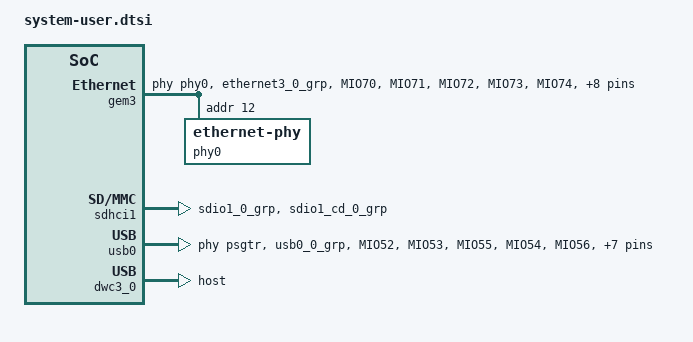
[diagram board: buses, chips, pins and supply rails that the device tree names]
/include/ "system-conf.dtsi"

#include "include/dt-bindings/gpio/gpio.h"
#include "include/dt-bindings/pinctrl/pinctrl-zynqmp.h"
#include "include/dt-bindings/phy/phy.h"


/ {
};

&gem3 {
	phy-handle = <&phy0>;
	pinctrl-names = "default";
	pinctrl-0 = <&pinctrl_gem3_default>;
	phy0: ethernet-phy@c {
		reg = <0xc>;
		ti,rx-internal-delay = <0x8>;
		ti,tx-internal-delay = <0xa>;
		ti,fifo-depth = <0x1>;
		ti,dp83867-rxctrl-strap-quirk;
	};
};

&pinctrl0 {
	status = "okay";

	pinctrl_can1_default: can1-default {
		mux {
			function = "can1";
			groups = "can1_6_grp";
		};

		conf {
			groups = "can1_6_grp";
			slew-rate = <SLEW_RATE_SLOW>;
			power-source = <IO_STANDARD_LVCMOS18>;
			drive-strength = <12>;
		};

		conf-rx {
			pins = "MIO25";
			bias-high-impedance;
		};

		conf-tx {
			pins = "MIO24";
			bias-disable;
		};
	};

	pinctrl_i2c1_default: i2c1-default {
		mux {
			groups = "i2c1_4_grp";
			function = "i2c1";
		};

		conf {
			groups = "i2c1_4_grp";
			bias-pull-up;
			slew-rate = <SLEW_RATE_SLOW>;
			power-source = <IO_STANDARD_LVCMOS18>;
			drive-strength = <12>;
		};
	};

	pinctrl_i2c1_gpio: i2c1-gpio {
		mux {
			groups = "gpio0_16_grp", "gpio0_17_grp";
			function = "gpio0";
		};

		conf {
			groups = "gpio0_16_grp", "gpio0_17_grp";
			slew-rate = <SLEW_RATE_SLOW>;
			power-source = <IO_STANDARD_LVCMOS18>;
			drive-strength = <12>;
		};
	};

	pinctrl_gem3_default: gem3-default {
		mux {
			function = "ethernet3";
			groups = "ethernet3_0_grp";
		};

		conf {
			groups = "ethernet3_0_grp";
			slew-rate = <SLEW_RATE_SLOW>;
			power-source = <IO_STANDARD_LVCMOS18>;
			drive-strength = <12>;
		};

		conf-rx {
			pins = "MIO70", "MIO71", "MIO72", "MIO73", "MIO74",
									"MIO75";
			bias-high-impedance;
			low-power-disable;
		};

		conf-tx {
			pins = "MIO64", "MIO65", "MIO66", "MIO67", "MIO68",
									"MIO69";
			bias-disable;
			low-power-enable;
		};

		mux-mdio {
			function = "mdio3";
			groups = "mdio3_0_grp";
		};

		conf-mdio {
			groups = "mdio3_0_grp";
			slew-rate = <SLEW_RATE_SLOW>;
			power-source = <IO_STANDARD_LVCMOS18>;
			bias-disable;
		};
	};

	pinctrl_sdhci1_default: sdhci1-default {
		mux {
			groups = "sdio1_0_grp";
			function = "sdio1";
		};

		conf {
			groups = "sdio1_0_grp";
			slew-rate = <SLEW_RATE_SLOW>;
			power-source = <IO_STANDARD_LVCMOS18>;
			bias-disable;
			drive-strength = <12>;
		};

		mux-cd {
			groups = "sdio1_cd_0_grp";
			function = "sdio1_cd";
		};

		conf-cd {
			groups = "sdio1_cd_0_grp";
			bias-high-impedance;
			bias-pull-up;
			slew-rate = <SLEW_RATE_SLOW>;
			power-source = <IO_STANDARD_LVCMOS18>;
		};
	};

	pinctrl_uart0_default: uart0-default {
		mux {
			groups = "uart0_4_grp";
			function = "uart0";
		};

		conf {
			groups = "uart0_4_grp";
			slew-rate = <SLEW_RATE_SLOW>;
			power-source = <IO_STANDARD_LVCMOS18>;
			drive-strength = <12>;
		};

		conf-rx {
			pins = "MIO18";
			bias-high-impedance;
		};

		conf-tx {
			pins = "MIO19";
			bias-disable;
		};
	};

	pinctrl_uart1_default: uart1-default {
		mux {
			groups = "uart1_5_grp";
			function = "uart1";
		};

		conf {
			groups = "uart1_5_grp";
			slew-rate = <SLEW_RATE_SLOW>;
			power-source = <IO_STANDARD_LVCMOS18>;
			drive-strength = <12>;
		};

		conf-rx {
			pins = "MIO21";
			bias-high-impedance;
		};

		conf-tx {
			pins = "MIO20";
			bias-disable;
		};
	};

	pinctrl_usb0_default: usb0-default {
		mux {
			groups = "usb0_0_grp";
			function = "usb0";
		};

		conf {
			groups = "usb0_0_grp";
			slew-rate = <SLEW_RATE_SLOW>;
			power-source = <IO_STANDARD_LVCMOS18>;
			drive-strength = <12>;
		};

		conf-rx {
			pins = "MIO52", "MIO53", "MIO55";
			bias-high-impedance;
		};

		conf-tx {
			pins = "MIO54", "MIO56", "MIO57", "MIO58", "MIO59",
			       "MIO60", "MIO61", "MIO62", "MIO63";
			bias-disable;
		};
	};
};

/* SD1 with level shifter */
&sdhci1 {
	no-1-8-v;
	pinctrl-names = "default";
	pinctrl-0 = <&pinctrl_sdhci1_default>;
	xlnx,mio-bank = <1>;
	disable-wp;
};

/* ULPI SMSC USB3320 */
&usb0 {
	pinctrl-names = "default";
	pinctrl-0 = <&pinctrl_usb0_default>;
	phy-names = "usb3-phy";
	phys = <&psgtr 2 PHY_TYPE_USB3 0 2>;
};

&dwc3_0 {
	dr_mode = "host";
	snps,usb3_lpm_capable;
	maximum-speed = "super-speed";
};

